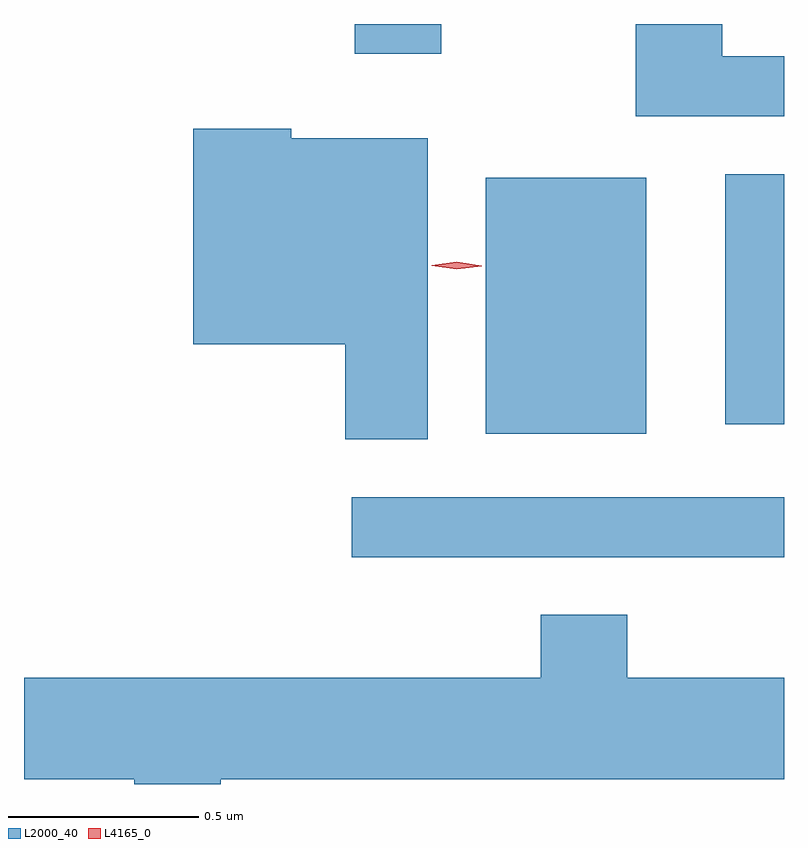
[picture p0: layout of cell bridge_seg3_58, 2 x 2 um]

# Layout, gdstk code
import gdstk
lib = gdstk.Library(unit=1e-6, precision=1e-09)
def R(c, l, rs):  # rectangles x0, y0, x1, y1
    for r in rs: c.add(gdstk.rectangle(r[:2], r[2:], *l))
def P(c, l, *ps):  # polygons
    for p in ps: c.add(gdstk.Polygon(p, *l))
L2000_40 = (2000, 40)
L4165_0 = (4165, 0)

bridge_seg3_58 = lib.new_cell('bridge_seg3_58')
R(bridge_seg3_58, L2000_40, [(1169.173,1246.481,1170.311,1246.639), (1169.526,1246.806,1169.949,1247.479), (1170.156,1246.831,1170.311,1247.489), (1169.181,1247.806,1169.409,1247.884)])
P(bridge_seg3_58, L2000_40, [(1170.311,1247.799),(1170.149,1247.799),(1170.149,1247.884),(1169.921,1247.884),(1169.921,1247.641),(1170.311,1247.641)],
  [(1169.374,1247.584),(1169.014,1247.584),(1169.014,1247.609),(1168.756,1247.609),(1168.756,1247.041),(1169.156,1247.041),(1169.156,1246.791),(1169.374,1246.791)],
  [(1168.311,1245.896),(1168.601,1245.896),(1168.601,1245.884),(1168.829,1245.884),(1168.829,1245.896),(1170.311,1245.896),(1170.311,1246.164),(1169.899,1246.164),(1169.899,1246.329),(1169.671,1246.329),(1169.671,1246.164),(1168.311,1246.164)])
P(bridge_seg3_58, L4165_0, [(1169.45,1247.238),(1169.384,1247.248),(1169.384,1247.248),(1169.384,1247.249),(1169.45,1247.258),(1169.516,1247.248),(1169.516,1247.247),(1169.516,1247.247)])

lib.write_gds('bridge_seg3_58.gds')
